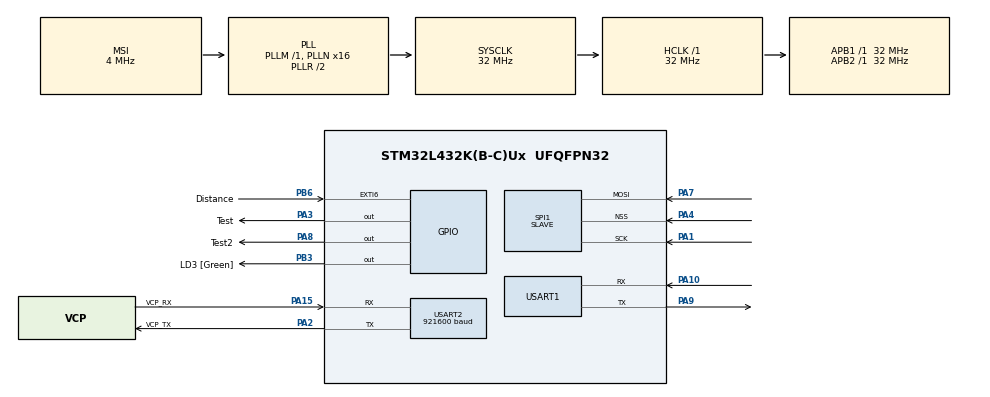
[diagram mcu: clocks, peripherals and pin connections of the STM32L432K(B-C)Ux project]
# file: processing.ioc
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Dma.Request0=SPI1_RX
Dma.Request1=USART2_TX
Dma.SPI1_RX.0.Direction=DMA_PERIPH_TO_MEMORY
Dma.SPI1_RX.0.Instance=DMA1_Channel2
Dma.SPI1_RX.0.MemDataAlignment=DMA_MDATAALIGN_BYTE
Dma.SPI1_RX.0.MemInc=DMA_MINC_ENABLE
Dma.SPI1_RX.0.Mode=DMA_NORMAL
Dma.SPI1_RX.0.PeriphDataAlignment=DMA_PDATAALIGN_BYTE
Dma.SPI1_RX.0.PeriphInc=DMA_PINC_DISABLE
Dma.SPI1_RX.0.Priority=DMA_PRIORITY_HIGH
Dma.USART2_TX.1.Direction=DMA_MEMORY_TO_PERIPH
Dma.USART2_TX.1.Instance=DMA1_Channel7
Dma.USART2_TX.1.MemDataAlignment=DMA_MDATAALIGN_BYTE
Dma.USART2_TX.1.MemInc=DMA_MINC_ENABLE
Dma.USART2_TX.1.Mode=DMA_NORMAL
Dma.USART2_TX.1.PeriphDataAlignment=DMA_PDATAALIGN_BYTE
Dma.USART2_TX.1.PeriphInc=DMA_PINC_DISABLE
Dma.USART2_TX.1.Priority=DMA_PRIORITY_LOW
Mcu.Family=STM32L4
Mcu.Name=STM32L432K(B-C)Ux
Mcu.Package=UFQFPN32
NVIC.DMA1_Channel2_IRQn=true\:0\:0\:false\:false\:true\:false\:true\:true
NVIC.DMA1_Channel7_IRQn=true\:0\:0\:false\:false\:true\:false\:true\:true
NVIC.EXTI9_5_IRQn=true\:0\:0\:false\:false\:true\:true\:true\:true
NVIC.PriorityGroup=NVIC_PRIORITYGROUP_4
NVIC.USART1_IRQn=true\:0\:0\:false\:false\:true\:true\:true\:true
NVIC.USART2_IRQn=true\:0\:0\:false\:false\:true\:true\:true\:true
PA0.GPIO_Label=MCO [High speed clock in]
PA0.Mode=HSE-External-Clock-Source-for-LittleOrca
PA0.Signal=RCC_CK_IN
PA1.Mode=RX_Only_Simplex_Unidirect_Slave
PA1.Signal=SPI1_SCK
PA10.Mode=Asynchronous
PA10.Signal=USART1_RX
PA13\ (JTMS-SWDIO).GPIO_Label=SWDIO
PA13\ (JTMS-SWDIO).Mode=Serial_Wire
PA13\ (JTMS-SWDIO).Signal=SYS_JTMS-SWDIO
PA14\ (JTCK-SWCLK).GPIO_Label=SWCLK
PA14\ (JTCK-SWCLK).Mode=Serial_Wire
PA14\ (JTCK-SWCLK).Signal=SYS_JTCK-SWCLK
PA15\ (JTDI).GPIO_Label=VCP_RX
PA15\ (JTDI).Mode=Asynchronous
PA15\ (JTDI).Signal=USART2_RX
PA2.GPIO_Label=VCP_TX
PA2.Mode=Asynchronous
PA2.Signal=USART2_TX
PA3.GPIO_Label=Test
PA3.Signal=GPIO_Output
PA4.Mode=NSS_Signal_Hard_Input
PA4.Signal=SPI1_NSS
PA7.Mode=RX_Only_Simplex_Unidirect_Slave
PA7.Signal=SPI1_MOSI
PA8.GPIO_Label=Test2
PA8.Signal=GPIO_Output
PA9.Mode=Asynchronous
PA9.Signal=USART1_TX
PB3\ (JTDO-TRACESWO).GPIO_Label=LD3 [Green]
PB3\ (JTDO-TRACESWO).Signal=GPIO_Output
PB6.GPIO_Label=Distance
PB6.GPIO_ModeDefaultEXTI=GPIO_MODE_IT_RISING_FALLING
PB6.Signal=GPXTI6
PC14-OSC32_IN\ (PC14).Mode=LSE-External-Oscillator
PC14-OSC32_IN\ (PC14).Signal=RCC_OSC32_IN
PC15-OSC32_OUT\ (PC15).Mode=LSE-External-Oscillator
PC15-OSC32_OUT\ (PC15).Signal=RCC_OSC32_OUT
ProjectManager.HeapSize=0x200
ProjectManager.StackSize=0x400
ProjectManager.TargetToolchain=STM32CubeIDE
RCC.AHBFreq_Value=32000000
RCC.APB1Freq_Value=32000000
RCC.APB1TimFreq_Value=32000000
RCC.APB2Freq_Value=32000000
RCC.APB2TimFreq_Value=32000000
RCC.CortexFreq_Value=32000000
RCC.HCLKFreq_Value=32000000
RCC.HSE_VALUE=8000000
RCC.HSI16_VALUE=16000000
RCC.HSI48_VALUE=48000000
RCC.HSI_VALUE=16000000
RCC.MSI_VALUE=4000000
RCC.PLLMUL=RCC_PLLMUL_4
RCC.PLLN=16
RCC.SYSCLKFreq_VALUE=32000000
RCC.SYSCLKSource=RCC_SYSCLKSOURCE_PLLCLK
RCC.VCOOutputFreq_Value=64000000
SPI1.DataSize=SPI_DATASIZE_10BIT
SPI1.Direction=SPI_DIRECTION_2LINES_RXONLY
SPI1.Mode=SPI_MODE_SLAVE
SPI1.VirtualNSS=VM_NSSHARD
SPI1.VirtualType=VM_SLAVE
USART1.VirtualMode-Asynchronous=VM_ASYNC
USART2.BaudRate=921600
USART2.VirtualMode-Asynchronous=VM_ASYNC
board=NUCLEO-L432KC

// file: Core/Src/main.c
/* USER CODE BEGIN Header */
// Processing STM Code - built for dual STM audio processing project
// Author : Jing Yuen Ng (35657774)
/**
  ******************************************************************************
  * @file           : main.c
  * @brief          : Main program body
  ******************************************************************************
  * @attention
  *
  * Copyright (c) 2026 STMicroelectronics.
  * All rights reserved.
  *
  * This software is licensed under terms that can be found in the LICENSE file
  * in the root directory of this software component.
  * If no LICENSE file comes with this software, it is provided AS-IS.
  *
  ******************************************************************************
  */
/* USER CODE END Header */
#include "main.h"

/* USER CODE BEGIN PTD */
typedef enum {
    RUNNING,
    WAIT_FOR_START,
	OUT_OF_DISTANCE
} SystemState;

typedef enum{
	MANUAL_RECORDING,
	DISTANCE_TRIGGERED
} Mode;

/* USER CODE END PTD */

SPI_HandleTypeDef hspi1;
DMA_HandleTypeDef hdma_spi1_rx;

UART_HandleTypeDef huart1;
UART_HandleTypeDef huart2;
DMA_HandleTypeDef hdma_usart2_tx;

/* USER CODE BEGIN PV */
const uint8_t ZERO  = 0;
const uint8_t STOP_INSTRUCTION = 64;
const uint8_t RECEIVED_CONFIRMATION = 27;
const uint8_t START = 4;

#define CHUNK_SIZE 256
#define WINDOW_SIZE 8

SystemState state = RUNNING;
Mode operation_mode = MANUAL_RECORDING;
uint8_t mode;
uint8_t instruction;
uint8_t received_confirmation;
uint16_t rxBuffer[256];
uint16_t history[2];
uint16_t average;
uint8_t counter = 0;
uint8_t initialise = 0;
uint8_t downsample = 0;
uint16_t downsample_buffer[2] = {0};
uint16_t cumulative_sample = 0;
uint16_t chosen;
uint16_t prev;

/* USER CODE END PV */

void SystemClock_Config(void);
static void MX_GPIO_Init(void);
static void MX_DMA_Init(void);
static void MX_USART2_UART_Init(void);
static void MX_USART1_UART_Init(void);
static void MX_SPI1_Init(void);

/* USER CODE BEGIN 0 */

// To deal with echo pin from sampling stm
void HAL_GPIO_EXTI_Callback(uint16_t GPIO_Pin)
{
    // to handle the rising edge and failling edge of the Echo
    if (GPIO_Pin == GPIO_PIN_6 && operation_mode == DISTANCE_TRIGGERED)  // PB7
    {
        if (HAL_GPIO_ReadPin(GPIOB, GPIO_PIN_6) == GPIO_PIN_SET && state == RUNNING)
        {
            // rising edge, the object is out of range
            HAL_DMA_Abort_IT(&hdma_spi1_rx);
            HAL_DMA_Abort_IT(&hdma_usart2_tx);
            while (__HAL_UART_GET_FLAG(&huart2, UART_FLAG_TC) == RESET);   // make sure all DMA transmission is done before continuing
            huart2.gState = HAL_UART_STATE_READY;  // force HAL state back to ready

            // send out 4 bytes of 0xFF to signal that we are stopping
            uint8_t stop_val = 255;
            for (int i = 0; i < 4; i++){
                HAL_UART_Transmit(&huart2, &stop_val, 1, HAL_MAX_DELAY);
            };

            state = OUT_OF_DISTANCE;

        }
        else if (HAL_GPIO_ReadPin(GPIOB, GPIO_PIN_6) != GPIO_PIN_SET && state == OUT_OF_DISTANCE)
        {
            // falling edge, means that the object is within range again
            // re-arms the spi dma; refresh all the controlling parameter for SPI DMA
            counter = 0;
            average = 0;
            initialise = 0;
            cumulative_sample = 0;
            downsample = 0;
            state = RUNNING;
            huart2.gState = HAL_UART_STATE_READY;
            hspi1.State = HAL_SPI_STATE_READY;
            HAL_SPI_Receive_DMA(&hspi1,(uint8_t*)(downsample_buffer + downsample), 1);
        }
    }
}

// called whenever receive something from SPI
void HAL_SPI_RxCpltCallback(SPI_HandleTypeDef *hspi){

	if (hspi->Instance == SPI1) {
		HAL_GPIO_TogglePin(Test2_GPIO_Port, Test2_Pin);
		downsample ^= 0x1;
		if (downsample == 0){
//			HAL_GPIO_WritePin(Test2_GPIO_Port, Test2_Pin,1);

			uint16_t value = (downsample_buffer[0] >> 1) + (downsample_buffer[1] >> 1);

			if (initialise >= 2){

				uint16_t val1 = history[0];
				uint16_t val2 = history[1];

				if ((val1 <= val2) && (val1 <= value)){
					chosen = (value <= val2)? value : val2;
				} else if ((val2 <= val1) && (val2 <= value)){
					chosen = (value <= val1) ? value : val1;
				} else{
					chosen = (val1 <= val2) ? val1 : val2;
				};

				history[1] = history[0];
				history[0] = value;

			} else{
				if (initialise){
					history[1] = value;
				} else{
					history[0] = value;
				}
			}

			prev = rxBuffer[counter];
			rxBuffer[counter] = chosen;

			cumulative_sample += chosen;

			if (initialise == WINDOW_SIZE - 1) // doesn't send first few datapoints until average can be computed
			{
				average = cumulative_sample >> 3;
				static uint8_t data_for_transmission;
				data_for_transmission = (uint8_t)(average >> 2);
				HAL_GPIO_WritePin(Test2_GPIO_Port, Test2_Pin,1);
				HAL_UART_Transmit_DMA(&huart2, &data_for_transmission, 1);
				initialise++;
			}else if (initialise > WINDOW_SIZE - 1){
				cumulative_sample -= prev;
				average = cumulative_sample >> 3;
				static uint8_t data_for_transmission;
				data_for_transmission = (uint8_t)(average >> 2);
				HAL_GPIO_WritePin(Test2_GPIO_Port, Test2_Pin,1);
				HAL_UART_Transmit_DMA(&huart2, &data_for_transmission, 1);

			} else {
				initialise ++;
			};

			counter++;
			if (counter == WINDOW_SIZE){
				counter = 0;
			}
		}

		HAL_SPI_Receive_DMA(&hspi1, (uint8_t*)(downsample_buffer + downsample), 1);
	}
}

void HAL_UART_TxCpltCallback(UART_HandleTypeDef *huart)
{
    if (huart->Instance == USART2)
    {
        // fires when DMA finishes transmitting all bytes
        // safe to transmit next sample here
		HAL_GPIO_WritePin(Test2_GPIO_Port, Test2_Pin,0);
    }
}
void HAL_UART_RxCpltCallback(UART_HandleTypeDef *huart)
{
    if (huart->Instance == USART2)
    {
        if (instruction == STOP_INSTRUCTION){
            HAL_DMA_Abort_IT(&hdma_spi1_rx);
            HAL_DMA_Abort_IT(&hdma_usart2_tx);
            while (__HAL_UART_GET_FLAG(&huart2, UART_FLAG_TC) == RESET);   // make sure all DMA transmission is done before continuing
            huart2.gState = HAL_UART_STATE_READY;  // force HAL state back to ready
            HAL_UART_Transmit(&huart1, &instruction, 1, HAL_MAX_DELAY);    // send stop instruction to sampling stm
            HAL_UART_Receive(&huart1, &received_confirmation, 1, HAL_MAX_DELAY);   // receive the confirmation from sampling stm

            if (received_confirmation == RECEIVED_CONFIRMATION){
                HAL_GPIO_WritePin(LD3_GPIO_Port, LD3_Pin,1);
//              while (__HAL_UART_GET_FLAG(&huart2, UART_FLAG_TC) == RESET);   // make sure all DMA transmission is done before continuing
//              huart2.gState = HAL_UART_STATE_READY;  // force HAL state back to ready
                HAL_UART_Transmit(&huart2, &received_confirmation, 1, HAL_MAX_DELAY);
                HAL_UART_Receive(&huart2, &mode, 1, HAL_MAX_DELAY);    // receive mode from Laptop
                if (mode == 17 || mode == 34){
                    if (mode == 17){
                        operation_mode = MANUAL_RECORDING;
                    } else{
                        operation_mode = DISTANCE_TRIGGERED;
                    }
                    HAL_UART_Transmit(&huart1, &mode, 1, HAL_MAX_DELAY);
                    HAL_UART_Receive(&huart1, &received_confirmation,1 , HAL_MAX_DELAY);   // from sampling stm
                    if (received_confirmation == RECEIVED_CONFIRMATION){
                        HAL_UART_Transmit(&huart2, &RECEIVED_CONFIRMATION, 1, HAL_MAX_DELAY);
                    } else{
                        // sampling stm didn't receive the mode properly
                    }
                } else{
                    // incorrect mode values
                }
            } else{
                // sampling stm didn't receive the stop instruction correctly
            };

            // will be at this line when processing & sampling stm is configured
            // now waiting for laptop to start the sampling
            state = WAIT_FOR_START;
            HAL_UART_Receive_IT(&huart2, &instruction, 1);  // rearm the interrupt to wait for user start input

        }else if (instruction ==  START && state ==  WAIT_FOR_START){
            // reset all the needed parameter before opening the SPI DMA channel
            counter = 0;
            average = 0;
            initialise = 0;
            cumulative_sample = 0;
            downsample = 0;
            state = RUNNING;
            hspi1.State = HAL_SPI_STATE_READY;
            HAL_SPI_Receive_DMA(&hspi1, (uint8_t*)(downsample_buffer + downsample), 1);
            HAL_UART_Transmit(&huart1, &START, 1, HAL_MAX_DELAY);
            HAL_UART_Receive_IT(&huart2, &instruction, 1);  // rearm the interrupt so that user can stop the processing process in the stm
        }
    }
}

/* USER CODE END 0 */

int main(void)
{

  /* MCU Configuration--------------------------------------------------------*/

  /* Reset of all peripherals, Initializes the Flash interface and the Systick. */
  HAL_Init();

  /* Configure the system clock */
  SystemClock_Config();

  /* Initialize all configured peripherals */
  MX_GPIO_Init();
  MX_DMA_Init();
  MX_USART2_UART_Init();
  MX_USART1_UART_Init();
  MX_SPI1_Init();
  /* USER CODE BEGIN 2 */

  __HAL_SPI_ENABLE(&hspi1);  // add this line BEFORE the DMA call
  HAL_UART_Receive_IT(&huart2, &instruction, 1);
  HAL_SPI_Receive_DMA(&hspi1, (uint8_t*)(downsample_buffer + downsample) ,1);

  /* USER CODE END 2 */

  /* Infinite loop */
  while(1)
  {

    /* USER CODE BEGIN 3 */
	  while( state == WAIT_FOR_START){
		HAL_GPIO_TogglePin(LD3_GPIO_Port, LD3_Pin);
		HAL_Delay(500);
	  }

	  while(state == RUNNING){
		HAL_GPIO_WritePin(LD3_GPIO_Port, LD3_Pin,0);

	  }
  }
  /* USER CODE END 3 */
}

void SystemClock_Config(void)
{
  RCC_OscInitTypeDef RCC_OscInitStruct = {0};
  RCC_ClkInitTypeDef RCC_ClkInitStruct = {0};

  /** Configure the main internal regulator output voltage
  */
  if (HAL_PWREx_ControlVoltageScaling(PWR_REGULATOR_VOLTAGE_SCALE1) != HAL_OK)
  {
    Error_Handler();
  }

  /** Configure LSE Drive Capability
  */
  HAL_PWR_EnableBkUpAccess();
  __HAL_RCC_LSEDRIVE_CONFIG(RCC_LSEDRIVE_LOW);

  /** Initializes the RCC Oscillators according to the specified parameters
  * in the RCC_OscInitTypeDef structure.
  */
  RCC_OscInitStruct.OscillatorType = RCC_OSCILLATORTYPE_LSE|RCC_OSCILLATORTYPE_MSI;
  RCC_OscInitStruct.LSEState = RCC_LSE_ON;
  RCC_OscInitStruct.MSIState = RCC_MSI_ON;
  RCC_OscInitStruct.MSICalibrationValue = 0;
  RCC_OscInitStruct.MSIClockRange = RCC_MSIRANGE_6;
  RCC_OscInitStruct.PLL.PLLState = RCC_PLL_ON;
  RCC_OscInitStruct.PLL.PLLSource = RCC_PLLSOURCE_MSI;
  RCC_OscInitStruct.PLL.PLLM = 1;
  RCC_OscInitStruct.PLL.PLLN = 16;
  RCC_OscInitStruct.PLL.PLLP = RCC_PLLP_DIV7;
  RCC_OscInitStruct.PLL.PLLQ = RCC_PLLQ_DIV2;
  RCC_OscInitStruct.PLL.PLLR = RCC_PLLR_DIV2;
  if (HAL_RCC_OscConfig(&RCC_OscInitStruct) != HAL_OK)
  {
    Error_Handler();
  }

  /** Initializes the CPU, AHB and APB buses clocks
  */
  RCC_ClkInitStruct.ClockType = RCC_CLOCKTYPE_HCLK|RCC_CLOCKTYPE_SYSCLK
                              |RCC_CLOCKTYPE_PCLK1|RCC_CLOCKTYPE_PCLK2;
  RCC_ClkInitStruct.SYSCLKSource = RCC_SYSCLKSOURCE_PLLCLK;
  RCC_ClkInitStruct.AHBCLKDivider = RCC_SYSCLK_DIV1;
  RCC_ClkInitStruct.APB1CLKDivider = RCC_HCLK_DIV1;
  RCC_ClkInitStruct.APB2CLKDivider = RCC_HCLK_DIV1;

  if (HAL_RCC_ClockConfig(&RCC_ClkInitStruct, FLASH_LATENCY_1) != HAL_OK)
  {
    Error_Handler();
  }

  /** Enable MSI Auto calibration
  */
  HAL_RCCEx_EnableMSIPLLMode();
}

static void MX_SPI1_Init(void)
{

  /* SPI1 parameter configuration*/
  hspi1.Instance = SPI1;
  hspi1.Init.Mode = SPI_MODE_SLAVE;
  hspi1.Init.Direction = SPI_DIRECTION_2LINES_RXONLY;
  hspi1.Init.DataSize = SPI_DATASIZE_10BIT;
  hspi1.Init.CLKPolarity = SPI_POLARITY_LOW;
  hspi1.Init.CLKPhase = SPI_PHASE_1EDGE;
  hspi1.Init.NSS = SPI_NSS_HARD_INPUT;
  hspi1.Init.FirstBit = SPI_FIRSTBIT_MSB;
  hspi1.Init.TIMode = SPI_TIMODE_DISABLE;
  hspi1.Init.CRCCalculation = SPI_CRCCALCULATION_DISABLE;
  hspi1.Init.CRCPolynomial = 7;
  hspi1.Init.CRCLength = SPI_CRC_LENGTH_DATASIZE;
  hspi1.Init.NSSPMode = SPI_NSS_PULSE_DISABLE;
  if (HAL_SPI_Init(&hspi1) != HAL_OK)
  {
    Error_Handler();
  }

}

static void MX_USART1_UART_Init(void)
{

  huart1.Instance = USART1;
  huart1.Init.BaudRate = 115200;
  huart1.Init.WordLength = UART_WORDLENGTH_8B;
  huart1.Init.StopBits = UART_STOPBITS_1;
  huart1.Init.Parity = UART_PARITY_NONE;
  huart1.Init.Mode = UART_MODE_TX_RX;
  huart1.Init.HwFlowCtl = UART_HWCONTROL_NONE;
  huart1.Init.OverSampling = UART_OVERSAMPLING_16;
  huart1.Init.OneBitSampling = UART_ONE_BIT_SAMPLE_DISABLE;
  huart1.AdvancedInit.AdvFeatureInit = UART_ADVFEATURE_NO_INIT;
  if (HAL_UART_Init(&huart1) != HAL_OK)
  {
    Error_Handler();
  }

}

static void MX_USART2_UART_Init(void)
{

  huart2.Instance = USART2;
  huart2.Init.BaudRate = 921600;
  huart2.Init.WordLength = UART_WORDLENGTH_8B;
  huart2.Init.StopBits = UART_STOPBITS_1;
  huart2.Init.Parity = UART_PARITY_NONE;
  huart2.Init.Mode = UART_MODE_TX_RX;
  huart2.Init.HwFlowCtl = UART_HWCONTROL_NONE;
  huart2.Init.OverSampling = UART_OVERSAMPLING_16;
  huart2.Init.OneBitSampling = UART_ONE_BIT_SAMPLE_DISABLE;
  huart2.AdvancedInit.AdvFeatureInit = UART_ADVFEATURE_NO_INIT;
  if (HAL_UART_Init(&huart2) != HAL_OK)
  {
    Error_Handler();
  }

}

static void MX_DMA_Init(void)
{

  /* DMA controller clock enable */
  __HAL_RCC_DMA1_CLK_ENABLE();

  /* DMA interrupt init */
  /* DMA1_Channel2_IRQn interrupt configuration */
  HAL_NVIC_SetPriority(DMA1_Channel2_IRQn, 0, 0);
  HAL_NVIC_EnableIRQ(DMA1_Channel2_IRQn);
  /* DMA1_Channel7_IRQn interrupt configuration */
  HAL_NVIC_SetPriority(DMA1_Channel7_IRQn, 0, 0);
  HAL_NVIC_EnableIRQ(DMA1_Channel7_IRQn);

}

static void MX_GPIO_Init(void)
{
  GPIO_InitTypeDef GPIO_InitStruct = {0};

  /* GPIO Ports Clock Enable */
  __HAL_RCC_GPIOC_CLK_ENABLE();
  __HAL_RCC_GPIOA_CLK_ENABLE();
  __HAL_RCC_GPIOB_CLK_ENABLE();

  /*Configure GPIO pin Output Level */
  HAL_GPIO_WritePin(GPIOA, Test_Pin|Test2_Pin, GPIO_PIN_RESET);

  /*Configure GPIO pin Output Level */
  HAL_GPIO_WritePin(LD3_GPIO_Port, LD3_Pin, GPIO_PIN_RESET);

  /*Configure GPIO pins : Test_Pin Test2_Pin */
  GPIO_InitStruct.Pin = Test_Pin|Test2_Pin;
  GPIO_InitStruct.Mode = GPIO_MODE_OUTPUT_PP;
  GPIO_InitStruct.Pull = GPIO_NOPULL;
  GPIO_InitStruct.Speed = GPIO_SPEED_FREQ_LOW;
  HAL_GPIO_Init(GPIOA, &GPIO_InitStruct);

  /*Configure GPIO pin : LD3_Pin */
  GPIO_InitStruct.Pin = LD3_Pin;
  GPIO_InitStruct.Mode = GPIO_MODE_OUTPUT_PP;
  GPIO_InitStruct.Pull = GPIO_NOPULL;
  GPIO_InitStruct.Speed = GPIO_SPEED_FREQ_LOW;
  HAL_GPIO_Init(LD3_GPIO_Port, &GPIO_InitStruct);

  /*Configure GPIO pin : Distance_Pin */
  GPIO_InitStruct.Pin = Distance_Pin;
  GPIO_InitStruct.Mode = GPIO_MODE_IT_RISING_FALLING;
  GPIO_InitStruct.Pull = GPIO_NOPULL;
  HAL_GPIO_Init(Distance_GPIO_Port, &GPIO_InitStruct);

  /* EXTI interrupt init*/
  HAL_NVIC_SetPriority(EXTI9_5_IRQn, 0, 0);
  HAL_NVIC_EnableIRQ(EXTI9_5_IRQn);

}

void Error_Handler(void)
{
  __disable_irq();
  while (1)
  {
  }
}
